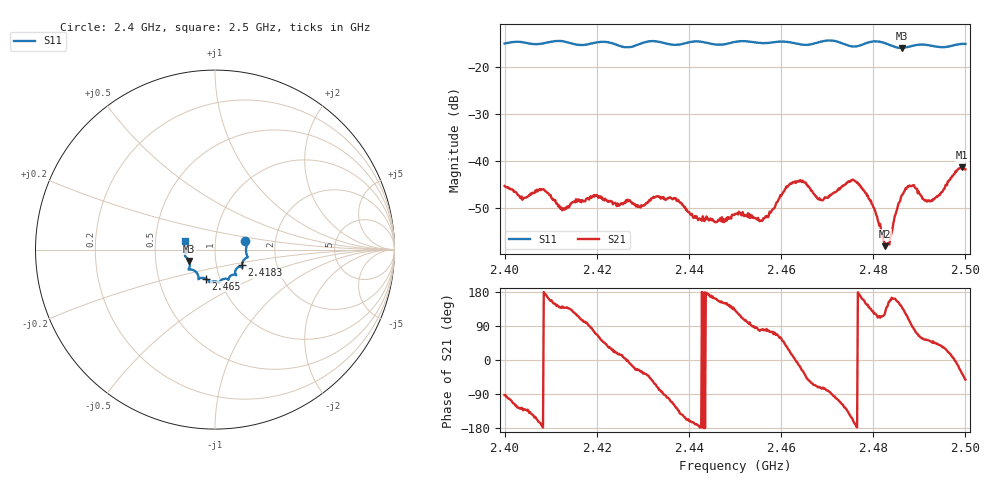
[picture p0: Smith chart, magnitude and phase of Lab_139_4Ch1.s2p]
# Hz S RI R 50
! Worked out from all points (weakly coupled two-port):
!   601 points, 2.4 GHz to 2.5 GHz, reference 50 ohm
!   highest |S21| = -41.38 dB at 2.4993 GHz (marker M1); lowest = -58.1 dB at 2.4825 GHz (marker M2)
!   lowest |S11| = -16.1 dB at 2.4862 GHz (marker M3), VSWR 1.37, Z = 37.1 - j4.8 ohm
!   |S11| at or under -10 dB: start of sweep to end of sweep
!   S12 and S22 are empty: the file has one direction only
!   S11 on the Smith chart (normalised r, x): 2.4 GHz: 1.40, +0.13; 2.4183 GHz: 1.33, -0.24; 2.465 GHz: 0.86, -0.29; 2.5 GHz: 0.71, +0.07
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2.4e9  0.1693 0.0459  -0.000236 -0.0054  0 0  0 0
2.4085e9  0.1753 -0.0219  -0.00499 6.26e-05  0 0  0 0
2.412667e9  0.1804 -0.0431  -0.00236 0.00196  0 0  0 0
2.416667e9  0.1546 -0.0679  -0.00105 0.00348  0 0  0 0
2.418333e9  0.1499 -0.0869  -2.79e-05 0.00388  0 0  0 0
2.433333e9  0.1175 -0.141  0.0012 -0.00398  0 0  0 0
2.442333e9  0.0741 -0.1687  -0.00245 -8.75e-05  0 0  0 0
2.45e9  0.025 -0.1807  -0.00183 0.00203  0 0  0 0
2.455833e9  0.00108 -0.1773  0.000403 0.00227  0 0  0 0
2.4615e9  -0.0308 -0.1791  0.00472 0.00262  0 0  0 0
2.465e9  -0.0526 -0.1618  0.00481 -0.0034  0 0  0 0
2.466667e9  -0.0714 -0.1572  0.00233 -0.00422  0 0  0 0
2.469e9  -0.0898 -0.1624  0.00113 -0.00363  0 0  0 0
2.476167e9  -0.112 -0.1189  -0.00596 -0.000934  0 0  0 0
2.479833e9  -0.1468 -0.111  -0.00214 0.00269  0 0  0 0
2.4825e9  -0.144 -0.1036  -0.000646 0.00106  0 0  0 0
2.483333e9  -0.1415 -0.0965  -0.00118 0.000611  0 0  0 0
2.486167e9  -0.1441 -0.063  -0.00332 0.00273  0 0  0 0
2.488333e9  -0.1591 -0.0443  -0.000102 0.00538  0 0  0 0
2.492667e9  -0.1648 -0.023  0.0025 0.00286  0 0  0 0
2.499333e9  -0.1679 0.044  0.00683 -0.00511  0 0  0 0
2.5e9  -0.1672 0.0472  0.00502 -0.00638  0 0  0 0
